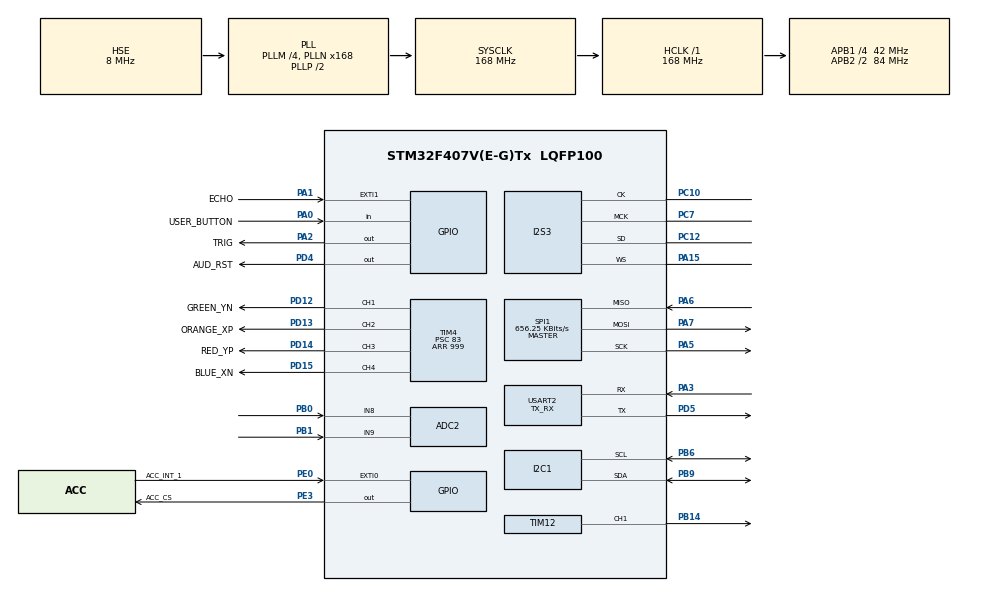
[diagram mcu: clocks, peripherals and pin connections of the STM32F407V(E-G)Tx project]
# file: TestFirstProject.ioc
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ADC2.Channel-0\#ChannelRegularConversion=ADC_CHANNEL_8
ADC2.Channel-1\#ChannelRegularConversion=ADC_CHANNEL_9
ADC2.DMAContinuousRequests=ENABLE
ADC2.NbrOfConversion=2
ADC2.NbrOfConversionFlag=1
ADC2.Rank-0\#ChannelRegularConversion=1
ADC2.Rank-1\#ChannelRegularConversion=2
ADC2.SamplingTime-0\#ChannelRegularConversion=ADC_SAMPLETIME_112CYCLES
ADC2.SamplingTime-1\#ChannelRegularConversion=ADC_SAMPLETIME_112CYCLES
ADC2.ScanConvMode=ENABLE
Dma.ADC2.0.Direction=DMA_PERIPH_TO_MEMORY
Dma.ADC2.0.FIFOMode=DMA_FIFOMODE_DISABLE
Dma.ADC2.0.Instance=DMA2_Stream2
Dma.ADC2.0.MemDataAlignment=DMA_MDATAALIGN_HALFWORD
Dma.ADC2.0.MemInc=DMA_MINC_ENABLE
Dma.ADC2.0.Mode=DMA_NORMAL
Dma.ADC2.0.PeriphDataAlignment=DMA_PDATAALIGN_HALFWORD
Dma.ADC2.0.PeriphInc=DMA_PINC_DISABLE
Dma.ADC2.0.Priority=DMA_PRIORITY_LOW
Dma.Request0=ADC2
I2S3.ErrorAudioFreq=-0.27 %
I2S3.FullDuplexMode=I2S_FULLDUPLEXMODE_DISABLE
I2S3.Instance=SPI$Index
I2S3.RealAudioFreq=7.978 KHz
I2S3.VirtualMode=I2S_MODE_MASTER
Mcu.Family=STM32F4
Mcu.Name=STM32F407V(E-G)Tx
Mcu.Package=LQFP100
NVIC.DMA2_Stream2_IRQn=true\:0\:0\:false\:false\:true\:false\:true
NVIC.EXTI0_IRQn=true\:0\:0\:false\:false\:true\:true\:true
NVIC.EXTI1_IRQn=true\:0\:0\:false\:false\:true\:true\:true
NVIC.PriorityGroup=NVIC_PRIORITYGROUP_4
NVIC.TIM8_TRG_COM_TIM14_IRQn=true\:0\:0\:false\:false\:true\:true\:true
NVIC.USART2_IRQn=true\:0\:0\:false\:false\:true\:true\:true
PA0-WKUP.GPIO_Label=USER_BUTTON
PA0-WKUP.Signal=GPIO_Input
PA1.GPIO_Label=ECHO
PA1.GPIO_ModeDefaultEXTI=GPIO_MODE_IT_RISING_FALLING
PA1.Signal=GPXTI1
PA13.Mode=Serial_Wire
PA13.Signal=SYS_JTMS-SWDIO
PA14.Mode=Serial_Wire
PA14.Signal=SYS_JTCK-SWCLK
PA15.Mode=Half_Duplex_Master
PA15.Signal=I2S3_WS
PA2.GPIO_Label=TRIG
PA2.Signal=GPIO_Output
PA3.Mode=Asynchronous
PA3.Signal=USART2_RX
PA5.Mode=Full_Duplex_Master
PA5.Signal=SPI1_SCK
PA6.Mode=Full_Duplex_Master
PA6.Signal=SPI1_MISO
PA7.Mode=Full_Duplex_Master
PA7.Signal=SPI1_MOSI
PB0.Signal=ADCx_IN8
PB1.Signal=ADCx_IN9
PB10.Signal=I2S2_CK
PB14.Signal=S_TIM12_CH1
PB6.Mode=I2C
PB6.Signal=I2C1_SCL
PB9.Mode=I2C
PB9.Signal=I2C1_SDA
PC10.Mode=Half_Duplex_Master
PC10.Signal=I2S3_CK
PC12.Mode=Half_Duplex_Master
PC12.Signal=I2S3_SD
PC14-OSC32_IN.Mode=LSE-External-Oscillator
PC14-OSC32_IN.Signal=RCC_OSC32_IN
PC15-OSC32_OUT.Mode=LSE-External-Oscillator
PC15-OSC32_OUT.Signal=RCC_OSC32_OUT
PC3.Signal=I2S2_SD
PC7.Mode=Master_Clock_Activated
PC7.Signal=I2S3_MCK
PD12.GPIO_Label=GREEN_YN
PD12.Signal=S_TIM4_CH1
PD13.GPIO_Label=ORANGE_XP
PD13.Signal=S_TIM4_CH2
PD14.GPIO_Label=RED_YP
PD14.Signal=S_TIM4_CH3
PD15.GPIO_Label=BLUE_XN
PD15.Signal=S_TIM4_CH4
PD4.GPIO_Label=AUD_RST
PD4.PinState=GPIO_PIN_SET
PD4.Signal=GPIO_Output
PD5.Mode=Asynchronous
PD5.Signal=USART2_TX
PE0.GPIO_Label=ACC_INT_1
PE0.Signal=GPXTI0
PE3.GPIO_Label=ACC_CS
PE3.Signal=GPIO_Output
PH0-OSC_IN.Mode=HSE-External-Oscillator
PH0-OSC_IN.Signal=RCC_OSC_IN
PH1-OSC_OUT.Mode=HSE-External-Oscillator
PH1-OSC_OUT.Signal=RCC_OSC_OUT
ProjectManager.HeapSize=0x00
ProjectManager.StackSize=0x400
ProjectManager.TargetToolchain=STM32CubeIDE
RCC.48MHZClocksFreq_Value=84000000
RCC.AHBFreq_Value=168000000
RCC.APB1CLKDivider=RCC_HCLK_DIV4
RCC.APB1Freq_Value=42000000
RCC.APB1TimFreq_Value=84000000
RCC.APB2CLKDivider=RCC_HCLK_DIV2
RCC.APB2Freq_Value=84000000
RCC.APB2TimFreq_Value=168000000
RCC.CortexFreq_Value=168000000
RCC.HCLKFreq_Value=168000000
RCC.HSE_VALUE=8000000
RCC.HSI_VALUE=16000000
RCC.PLLM=4
RCC.PLLN=168
RCC.PLLSourceVirtual=RCC_PLLSOURCE_HSE
RCC.RCC_RTC_Clock_Source=RCC_RTCCLKSOURCE_LSE
RCC.RCC_RTC_Clock_SourceVirtual=RCC_RTCCLKSOURCE_LSE
RCC.SYSCLKFreq_VALUE=168000000
RCC.SYSCLKSource=RCC_SYSCLKSOURCE_PLLCLK
RCC.VCOOutputFreq_Value=336000000
SH.ADCx_IN8.0=ADC2_IN8,IN8
SH.ADCx_IN9.0=ADC2_IN9,IN9
SH.S_TIM12_CH1.0=TIM12_CH1,PWM Generation1 CH1
SH.S_TIM4_CH1.0=TIM4_CH1,PWM Generation1 CH1
SH.S_TIM4_CH2.0=TIM4_CH2,PWM Generation2 CH2
SH.S_TIM4_CH3.0=TIM4_CH3,PWM Generation3 CH3
SH.S_TIM4_CH4.0=TIM4_CH4,PWM Generation4 CH4
SPI1.BaudRatePrescaler=SPI_BAUDRATEPRESCALER_128
SPI1.CalculateBaudRate=656.25 KBits/s
SPI1.Direction=SPI_DIRECTION_2LINES
SPI1.Mode=SPI_MODE_MASTER
SPI1.VirtualType=VM_MASTER
TIM12.AutoReloadPreload=TIM_AUTORELOAD_PRELOAD_ENABLE
TIM12.Channel-PWM\ Generation1\ CH1=TIM_CHANNEL_1
TIM12.Period=20000
TIM12.Prescaler=83
TIM12.Pulse-PWM\ Generation1\ CH1=1000
TIM13.Period=65535
TIM13.Prescaler=83
TIM14.AutoReloadPreload=TIM_AUTORELOAD_PRELOAD_ENABLE
TIM14.Period=999
TIM14.Prescaler=83
TIM4.AutoReloadPreload=TIM_AUTORELOAD_PRELOAD_ENABLE
TIM4.Channel-PWM\ Generation1\ CH1=TIM_CHANNEL_1
TIM4.Channel-PWM\ Generation2\ CH2=TIM_CHANNEL_2
TIM4.Channel-PWM\ Generation3\ CH3=TIM_CHANNEL_3
TIM4.Channel-PWM\ Generation4\ CH4=TIM_CHANNEL_4
TIM4.Period=999
TIM4.Prescaler=83
TIM4.Pulse-PWM\ Generation1\ CH1=100
TIM4.Pulse-PWM\ Generation2\ CH2=300
TIM4.Pulse-PWM\ Generation3\ CH3=600
TIM4.Pulse-PWM\ Generation4\ CH4=900
USART2.Mode=MODE_TX_RX
USART2.OverSampling=UART_OVERSAMPLING_8
USART2.VirtualMode=VM_ASYNC
VP_TIM13_VS_ClockSourceINT.Mode=Enable_Timer
VP_TIM14_VS_ClockSourceINT.Mode=Enable_Timer
board=custom

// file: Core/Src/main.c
/* USER CODE BEGIN Header */
/**
  ******************************************************************************
  * @file           : main.c
  * @brief          : Main program body
  ******************************************************************************
  * @attention
  *
  * <h2><center>&copy; Copyright (c) 2020 STMicroelectronics.
  * All rights reserved.</center></h2>
  *
  * This software component is licensed by ST under BSD 3-Clause license,
  * the "License"; You may not use this file except in compliance with the
  * License. You may obtain a copy of the License at:
  *                        opensource.org/licenses/BSD-3-Clause
  *
  ******************************************************************************
  */
/* USER CODE END Header */

#include "main.h"
#include "adc.h"
#include "dma.h"
#include "i2c.h"
#include "i2s.h"
#include "spi.h"
#include "tim.h"
#include "usart.h"
#include "gpio.h"

/* USER CODE BEGIN Includes */
#include "LIS3DSH.h"
#include "ADXL345.h"
/* USER CODE END Includes */

void SystemClock_Config(void);
/* USER CODE BEGIN PFP */

struct
{
    struct
    {
        int16_t x;
        int16_t y;
        int16_t z;
    }raw;

    struct
    {
        double x;
        double y;
        double z;
    }g;

}adxl345;

void adxlWrite ( uint8_t reg, uint8_t data )
{
    static uint8_t sendData = 0;

    sendData = data;

    HAL_I2C_Mem_Write ( &hi2c1, ADXL_ADDR, reg, 1, &sendData, 1, 100 );
}

uint8_t adxlRead ( uint8_t reg )
{
    static uint8_t sendData = 0;

    HAL_I2C_Mem_Read ( &hi2c1, ADXL_ADDR, reg, 1, &sendData, 1, 100 );

    return ( sendData );
}

void adxlUpdate( void )
{
    char temp=0,temp2=0;
    temp = adxlRead(DATAX0);
    temp2 = adxlRead(DATAX1);
    adxl345.raw.x = (temp2<<8)|temp;

    temp = adxlRead(DATAY0);
    temp2 = adxlRead(DATAY1);
    adxl345.raw.y = (temp2<<8)|temp;

    temp = adxlRead(DATAZ0);
    temp2 = adxlRead(DATAZ1);
    adxl345.raw.z = (temp2<<8)|temp;

    adxl345.g.x = adxl345.raw.x;
    adxl345.g.y = adxl345.raw.y;
    adxl345.g.z = adxl345.raw.z;

    adxl345.g.x /= 256;
    adxl345.g.y /= 256;
    adxl345.g.z /= 256;
}

/* USER CODE END PFP */

/* USER CODE BEGIN 0 */
uint32_t duty = 1000;
/* USER CODE END 0 */

int main(void)
{

  /* MCU Configuration--------------------------------------------------------*/

  /* Reset of all peripherals, Initializes the Flash interface and the Systick. */
  HAL_Init();

  /* Configure the system clock */
  SystemClock_Config();

  /* Initialize all configured peripherals */
  MX_GPIO_Init();
  MX_DMA_Init();
  MX_I2C1_Init();
  MX_I2S3_Init();
  MX_SPI1_Init();
  MX_TIM14_Init();
  MX_USART2_UART_Init();
  MX_ADC2_Init();
  MX_TIM4_Init();
  MX_TIM12_Init();
  MX_TIM13_Init();
  /* USER CODE BEGIN 2 */

  HAL_TIM_PWM_Start ( &htim12, TIM_CHANNEL_1 );

  /* USER CODE END 2 */

  /* Infinite loop */
  /* USER CODE BEGIN WHILE */
  while (1)
  {
      duty += 250;

      if ( duty > 2000 )
      {
          duty = 1000;
      }

      __HAL_TIM_SET_COMPARE ( &htim12, TIM_CHANNEL_1, duty);

      HAL_Delay ( 500 );
    /* USER CODE END WHILE */

  }
}

void SystemClock_Config(void)
{
  RCC_OscInitTypeDef RCC_OscInitStruct = {0};
  RCC_ClkInitTypeDef RCC_ClkInitStruct = {0};
  RCC_PeriphCLKInitTypeDef PeriphClkInitStruct = {0};

  /** Configure the main internal regulator output voltage
  */
  __HAL_RCC_PWR_CLK_ENABLE();
  __HAL_PWR_VOLTAGESCALING_CONFIG(PWR_REGULATOR_VOLTAGE_SCALE1);
  /** Initializes the CPU, AHB and APB busses clocks
  */
  RCC_OscInitStruct.OscillatorType = RCC_OSCILLATORTYPE_HSE;
  RCC_OscInitStruct.HSEState = RCC_HSE_ON;
  RCC_OscInitStruct.PLL.PLLState = RCC_PLL_ON;
  RCC_OscInitStruct.PLL.PLLSource = RCC_PLLSOURCE_HSE;
  RCC_OscInitStruct.PLL.PLLM = 4;
  RCC_OscInitStruct.PLL.PLLN = 168;
  RCC_OscInitStruct.PLL.PLLP = RCC_PLLP_DIV2;
  RCC_OscInitStruct.PLL.PLLQ = 4;
  if (HAL_RCC_OscConfig(&RCC_OscInitStruct) != HAL_OK)
  {
    Error_Handler();
  }
  /** Initializes the CPU, AHB and APB busses clocks
  */
  RCC_ClkInitStruct.ClockType = RCC_CLOCKTYPE_HCLK|RCC_CLOCKTYPE_SYSCLK
                              |RCC_CLOCKTYPE_PCLK1|RCC_CLOCKTYPE_PCLK2;
  RCC_ClkInitStruct.SYSCLKSource = RCC_SYSCLKSOURCE_PLLCLK;
  RCC_ClkInitStruct.AHBCLKDivider = RCC_SYSCLK_DIV1;
  RCC_ClkInitStruct.APB1CLKDivider = RCC_HCLK_DIV4;
  RCC_ClkInitStruct.APB2CLKDivider = RCC_HCLK_DIV2;

  if (HAL_RCC_ClockConfig(&RCC_ClkInitStruct, FLASH_LATENCY_5) != HAL_OK)
  {
    Error_Handler();
  }
  PeriphClkInitStruct.PeriphClockSelection = RCC_PERIPHCLK_I2S;
  PeriphClkInitStruct.PLLI2S.PLLI2SN = 192;
  PeriphClkInitStruct.PLLI2S.PLLI2SR = 2;
  if (HAL_RCCEx_PeriphCLKConfig(&PeriphClkInitStruct) != HAL_OK)
  {
    Error_Handler();
  }
}

/* USER CODE BEGIN 4 */

/*
 * @about: Global external interrupt callback
 */
void HAL_GPIO_EXTI_Callback ( uint16_t GPIO_Pin )
{
    if ( GPIO_Pin == ECHO_Pin )
    {

    }
    else
    {
        // Intentionally blank.
    }
}

/* USER CODE END 4 */

void Error_Handler(void)
{
}

/************************ (C) COPYRIGHT STMicroelectronics *****END OF FILE****/
